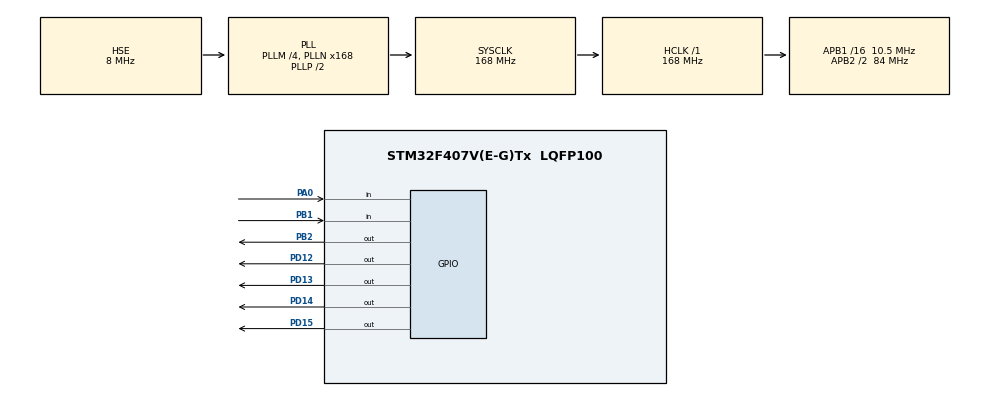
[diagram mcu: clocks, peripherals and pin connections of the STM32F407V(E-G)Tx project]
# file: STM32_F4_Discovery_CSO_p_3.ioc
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Mcu.Family=STM32F4
Mcu.Name=STM32F407V(E-G)Tx
Mcu.Package=LQFP100
NVIC.PriorityGroup=NVIC_PRIORITYGROUP_4
NVIC.TIM6_DAC_IRQn=true\:0\:0\:false\:false\:true
PA0-WKUP.Signal=GPIO_Input
PB1.Signal=GPIO_Input
PB2.Signal=GPIO_Output
PD12.Signal=GPIO_Output
PD13.Signal=GPIO_Output
PD14.Signal=GPIO_Output
PD15.Signal=GPIO_Output
PH0-OSC_IN.Mode=HSE-External-Oscillator
PH0-OSC_IN.Signal=RCC_OSC_IN
PH1-OSC_OUT.Mode=HSE-External-Oscillator
PH1-OSC_OUT.Signal=RCC_OSC_OUT
ProjectManager.HeapSize=0x200
ProjectManager.StackSize=0x400
ProjectManager.TargetToolchain=SW4STM32
RCC.48MHZClocksFreq_Value=84000000
RCC.AHBFreq_Value=168000000
RCC.APB1CLKDivider=RCC_HCLK_DIV16
RCC.APB1Freq_Value=10500000
RCC.APB1TimFreq_Value=21000000
RCC.APB2CLKDivider=RCC_HCLK_DIV2
RCC.APB2Freq_Value=84000000
RCC.APB2TimFreq_Value=168000000
RCC.CortexFreq_Value=168000000
RCC.HCLKFreq_Value=168000000
RCC.HSE_VALUE=8000000
RCC.HSI_VALUE=16000000
RCC.LSE_VALUE=32768
RCC.PLLM=4
RCC.PLLN=168
RCC.PLLSourceVirtual=RCC_PLLSOURCE_HSE
RCC.SYSCLKFreq_VALUE=168000000
RCC.SYSCLKSource=RCC_SYSCLKSOURCE_PLLCLK
RCC.VCOOutputFreq_Value=336000000
TIM6.Period=499
TIM6.Prescaler=20999
TIM6.TIM_MasterOutputTrigger=TIM_TRGO_UPDATE
VP_TIM6_VS_ClockSourceINT.Mode=Enable_Timer
board=STM32_F4_Discovery_CSO_p_3

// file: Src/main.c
/**
  ******************************************************************************
  * File Name          : main.c
  * Description        : Main program body
  ******************************************************************************
  *
  * COPYRIGHT(c) 2016 STMicroelectronics
  *
  * Redistribution and use in source and binary forms, with or without modification,
  * are permitted provided that the following conditions are met:
  *   1. Redistributions of source code must retain the above copyright notice,
  *      this list of conditions and the following disclaimer.
  *   2. Redistributions in binary form must reproduce the above copyright notice,
  *      this list of conditions and the following disclaimer in the documentation
  *      and/or other materials provided with the distribution.
  *   3. Neither the name of STMicroelectronics nor the names of its contributors
  *      may be used to endorse or promote products derived from this software
  *      without specific prior written permission.
  *
  * THIS SOFTWARE IS PROVIDED BY THE COPYRIGHT HOLDERS AND CONTRIBUTORS "AS IS"
  * AND ANY EXPRESS OR IMPLIED WARRANTIES, INCLUDING, BUT NOT LIMITED TO, THE
  * IMPLIED WARRANTIES OF MERCHANTABILITY AND FITNESS FOR A PARTICULAR PURPOSE ARE
  * DISCLAIMED. IN NO EVENT SHALL THE COPYRIGHT HOLDER OR CONTRIBUTORS BE LIABLE
  * FOR ANY DIRECT, INDIRECT, INCIDENTAL, SPECIAL, EXEMPLARY, OR CONSEQUENTIAL
  * DAMAGES (INCLUDING, BUT NOT LIMITED TO, PROCUREMENT OF SUBSTITUTE GOODS OR
  * SERVICES; LOSS OF USE, DATA, OR PROFITS; OR BUSINESS INTERRUPTION) HOWEVER
  * CAUSED AND ON ANY THEORY OF LIABILITY, WHETHER IN CONTRACT, STRICT LIABILITY,
  * OR TORT (INCLUDING NEGLIGENCE OR OTHERWISE) ARISING IN ANY WAY OUT OF THE USE
  * OF THIS SOFTWARE, EVEN IF ADVISED OF THE POSSIBILITY OF SUCH DAMAGE.
  *
  ******************************************************************************
  */
#include "main.h"
#include "stm32f4xx_hal.h"
#include "tim.h"
#include "gpio.h"
#include <stdbool.h>

/* USER CODE BEGIN PV */
/* Private variables ---------------------------------------------------------*/

/* USER CODE END PV */

void SystemClock_Config(void);
void Error_Handler(void);

/* USER CODE BEGIN PFP */
/* Private function prototypes -----------------------------------------------*/

/* USER CODE END PFP */

/* USER CODE BEGIN 0 */

#define hcsr04_trig GPIO_PIN_2
#define hcsr04_echo GPIO_PIN_1
#define hcsr04_portConnected GPIOB
#define SystemCoreClockInMHz (SystemCoreClock/1000000)
#define MICROSECONDS_GRANULARITY 4

volatile uint32_t tim6_overflows = 0;

void HAL_TIM_PeriodElapsedCallback(TIM_HandleTypeDef *htim)
{
  if( htim->Instance == TIM6 )
  {
   ++tim6_overflows;
  }
}

inline void TIM6_reinit()
{
 HAL_TIM_Base_Stop(&htim6);
 __HAL_TIM_SET_PRESCALER( &htim6, (SystemCoreClockInMHz-1) );
 __HAL_TIM_SET_COUNTER( &htim6, 0 );
 tim6_overflows = 0;
 HAL_TIM_Base_Start(&htim6);
}

inline uint32_t get_tim6_us()
{
 __HAL_TIM_DISABLE_IT(&htim6, TIM_IT_UPDATE);
 //__disable_irq();
 uint32_t res = tim6_overflows * 10000 + __HAL_TIM_GET_COUNTER(&htim6);
 //__enable_irq();
 __HAL_TIM_ENABLE_IT(&htim6, TIM_IT_UPDATE);
 return res;
}

inline void udelay_TIM6(uint32_t useconds) {
 uint32_t before = get_tim6_us();
 while( get_tim6_us() < before+useconds){}
}

/* USER CODE END 0 */

int main(void)
{

  /* MCU Configuration----------------------------------------------------------*/

  /* Reset of all peripherals, Initializes the Flash interface and the Systick. */
  HAL_Init();

  /* Configure the system clock */
  SystemClock_Config();

  /* Initialize all configured peripherals */
  MX_GPIO_Init();
  MX_TIM6_Init();

  /* USER CODE BEGIN 2 */
  HAL_TIM_Base_Start(&htim6);
  HAL_TIM_Base_Start_IT(&htim6);

  // Check echo for 0
  if(HAL_GPIO_ReadPin(hcsr04_portConnected, hcsr04_echo))
  {
	  // Error - no impuls, but echo is already 1
	  HAL_GPIO_WritePin(GPIOD, GPIO_PIN_15, GPIO_PIN_SET);
	  printf("Error -- Echo line is high, though no impuls was given\n");
	  while(1); // Freeze
  }

  uint32_t starting_ticks;
  uint32_t timeout_ticks;
  uint32_t distance_mm;

  bool are_echoing = false;

  /* USER CODE END 2 */

  /* Infinite loop */
  while (1)
  {

  /* USER CODE BEGIN 3 */
	  if(!are_echoing)
	  {
		udelay_TIM6(500000/2);

		HAL_GPIO_WritePin(GPIOD, GPIO_PIN_15, GPIO_PIN_RESET);
		HAL_GPIO_WritePin(GPIOD, GPIO_PIN_12, GPIO_PIN_RESET);

		udelay_TIM6(500000/2);

		are_echoing = true;

		HAL_GPIO_WritePin(hcsr04_portConnected, hcsr04_trig, GPIO_PIN_SET);
		HAL_GPIO_WritePin(GPIOD, GPIO_PIN_13, GPIO_PIN_SET);
		printf("Echo signal enabled\n");

		udelay_TIM6(12);

		HAL_GPIO_WritePin(hcsr04_portConnected, hcsr04_trig, GPIO_PIN_RESET);

		timeout_ticks=get_tim6_us();
	  }
	  else
	  {
		bool measuring = false;
		uint32_t measured_time;

		uint32_t usoniq_timeout = 100000;
		while( (get_tim6_us() - timeout_ticks) < usoniq_timeout )
		{

			if( HAL_GPIO_ReadPin(hcsr04_portConnected, hcsr04_trig) )
			{
				if( !measuring )
				{
					starting_ticks=get_tim6_us();
					measuring = true;
				}
			}
			else{
				if(measuring)
				{
					measured_time = (get_tim6_us() - starting_ticks)*10*MICROSECONDS_GRANULARITY;
					distance_mm = measured_time/58;
					// Success - enable green.
					HAL_GPIO_WritePin(GPIOD, GPIO_PIN_12, GPIO_PIN_RESET);
					break;
				}
			}
		}
		if(!measuring)
		{
			// Notify error and try again
			HAL_GPIO_WritePin(GPIOD, GPIO_PIN_13, GPIO_PIN_RESET);
			printf("Echo signal not arrived in time\n");
		}
		else{
			printf("Distance: %lu mm, measured time: %lu us\n", distance_mm, measured_time/10);
		}
		are_echoing = false;
	  }
  }
  /* USER CODE END 3 */

}

/** System Clock Configuration
*/
void SystemClock_Config(void)
{

  RCC_OscInitTypeDef RCC_OscInitStruct;
  RCC_ClkInitTypeDef RCC_ClkInitStruct;

    /**Configure the main internal regulator output voltage
    */
  __HAL_RCC_PWR_CLK_ENABLE();

  __HAL_PWR_VOLTAGESCALING_CONFIG(PWR_REGULATOR_VOLTAGE_SCALE1);

    /**Initializes the CPU, AHB and APB busses clocks
    */
  RCC_OscInitStruct.OscillatorType = RCC_OSCILLATORTYPE_HSE;
  RCC_OscInitStruct.HSEState = RCC_HSE_ON;
  RCC_OscInitStruct.PLL.PLLState = RCC_PLL_ON;
  RCC_OscInitStruct.PLL.PLLSource = RCC_PLLSOURCE_HSE;
  RCC_OscInitStruct.PLL.PLLM = 4;
  RCC_OscInitStruct.PLL.PLLN = 168;
  RCC_OscInitStruct.PLL.PLLP = RCC_PLLP_DIV2;
  RCC_OscInitStruct.PLL.PLLQ = 4;
  if (HAL_RCC_OscConfig(&RCC_OscInitStruct) != HAL_OK)
  {
    Error_Handler();
  }

    /**Initializes the CPU, AHB and APB busses clocks
    */
  RCC_ClkInitStruct.ClockType = RCC_CLOCKTYPE_HCLK|RCC_CLOCKTYPE_SYSCLK
                              |RCC_CLOCKTYPE_PCLK1|RCC_CLOCKTYPE_PCLK2;
  RCC_ClkInitStruct.SYSCLKSource = RCC_SYSCLKSOURCE_PLLCLK;
  RCC_ClkInitStruct.AHBCLKDivider = RCC_SYSCLK_DIV1;
  RCC_ClkInitStruct.APB1CLKDivider = RCC_HCLK_DIV16;
  RCC_ClkInitStruct.APB2CLKDivider = RCC_HCLK_DIV2;

  if (HAL_RCC_ClockConfig(&RCC_ClkInitStruct, FLASH_LATENCY_5) != HAL_OK)
  {
    Error_Handler();
  }

    /**Configure the Systick interrupt time
    */
  HAL_SYSTICK_Config(HAL_RCC_GetHCLKFreq()/1000);

    /**Configure the Systick
    */
  HAL_SYSTICK_CLKSourceConfig(SYSTICK_CLKSOURCE_HCLK);

  /* SysTick_IRQn interrupt configuration */
  HAL_NVIC_SetPriority(SysTick_IRQn, 0, 0);
}

void Error_Handler(void)
{
  while(1)
  {
  }
}

/************************ (C) COPYRIGHT STMicroelectronics *****END OF FILE****/
